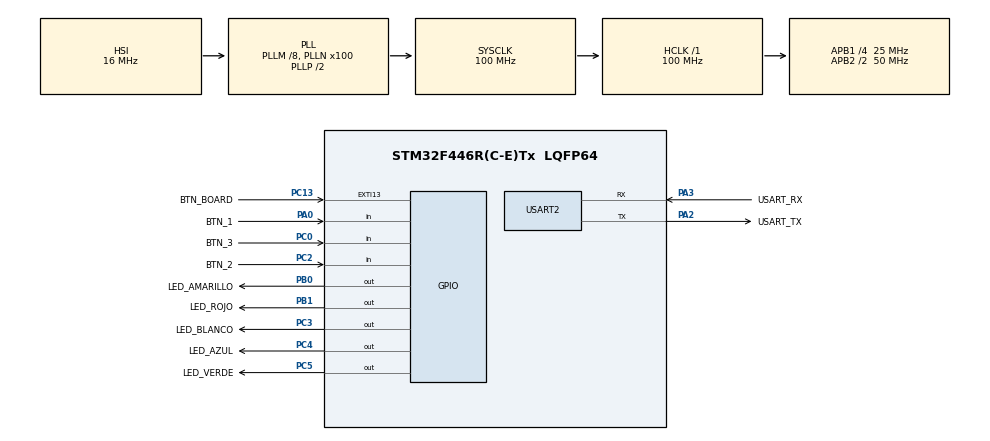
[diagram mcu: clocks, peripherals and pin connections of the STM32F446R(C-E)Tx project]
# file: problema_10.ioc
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FREERTOS.Tasks01=defaultTask,24,128,StartDefaultTask,Default,NULL,Dynamic,NULL,NULL
FREERTOS.configUSE_NEWLIB_REENTRANT=1
Mcu.Family=STM32F4
Mcu.Name=STM32F446R(C-E)Tx
Mcu.Package=LQFP64
NVIC.PriorityGroup=NVIC_PRIORITYGROUP_4
NVIC.TIM1_UP_TIM10_IRQn=true\:15\:0\:false\:false\:true\:false\:false\:true\:true
NVIC.TimeBase=TIM1_UP_TIM10_IRQn
NVIC.TimeBaseIP=TIM1
NVIC.USART2_IRQn=true\:5\:0\:false\:false\:true\:true\:true\:true\:true
PA0-WKUP.GPIO_Label=BTN_1
PA0-WKUP.Signal=GPIO_Input
PA13.GPIO_Label=TMS
PA13.Mode=Serial_Wire
PA13.Signal=SYS_JTMS-SWDIO
PA14.GPIO_Label=TCK
PA14.Mode=Serial_Wire
PA14.Signal=SYS_JTCK-SWCLK
PA2.GPIO_Label=USART_TX
PA2.Mode=Asynchronous
PA2.Signal=USART2_TX
PA3.GPIO_Label=USART_RX
PA3.Mode=Asynchronous
PA3.Signal=USART2_RX
PB0.GPIO_Label=LED_AMARILLO
PB0.Signal=GPIO_Output
PB1.GPIO_Label=LED_ROJO
PB1.Signal=GPIO_Output
PC0.GPIO_Label=BTN_3
PC0.Signal=GPIO_Input
PC13.GPIO_Label=BTN_BOARD
PC13.GPIO_ModeDefaultEXTI=GPIO_MODE_IT_RISING_FALLING
PC13.GPIO_PuPd=GPIO_PULLDOWN
PC13.Signal=GPXTI13
PC14-OSC32_IN.Mode=LSE-External-Oscillator
PC14-OSC32_IN.Signal=RCC_OSC32_IN
PC15-OSC32_OUT.Mode=LSE-External-Oscillator
PC15-OSC32_OUT.Signal=RCC_OSC32_OUT
PC2.GPIO_Label=BTN_2
PC2.GPIO_PuPd=GPIO_NOPULL
PC2.Signal=GPIO_Input
PC3.GPIO_Label=LED_BLANCO
PC3.Signal=GPIO_Output
PC4.GPIO_Label=LED_AZUL
PC4.Signal=GPIO_Output
PC5.GPIO_Label=LED_VERDE
PC5.Signal=GPIO_Output
PH0-OSC_IN.Mode=HSE-External-Oscillator
PH0-OSC_IN.Signal=RCC_OSC_IN
PH1-OSC_OUT.Mode=HSE-External-Oscillator
PH1-OSC_OUT.Signal=RCC_OSC_OUT
ProjectManager.HeapSize=0x200
ProjectManager.StackSize=0x400
ProjectManager.TargetToolchain=STM32CubeIDE
RCC.48MHZClocksFreq_Value=84000000
RCC.AHBFreq_Value=100000000
RCC.APB1CLKDivider=RCC_HCLK_DIV4
RCC.APB1Freq_Value=25000000
RCC.APB1TimFreq_Value=50000000
RCC.APB2CLKDivider=RCC_HCLK_DIV2
RCC.APB2Freq_Value=50000000
RCC.APB2TimFreq_Value=100000000
RCC.CortexFreq_Value=100000000
RCC.FLatency-AdvancedSettings=FLASH_LATENCY_3
RCC.HCLKFreq_Value=100000000
RCC.HSE_VALUE=8000000
RCC.HSI_VALUE=16000000
RCC.PLLM=8
RCC.PLLN=100
RCC.SYSCLKFreq_VALUE=100000000
RCC.SYSCLKSource=RCC_SYSCLKSOURCE_PLLCLK
RCC.USBFreq_Value=100000000
RCC.VCOOutputFreq_Value=200000000
USART2.VirtualMode=VM_ASYNC
VP_FREERTOS_VS_CMSIS_V2.Mode=CMSIS_V2
VP_SYS_VS_tim1.Mode=TIM1
board=NUCLEO-F446RE

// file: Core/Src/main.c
/* USER CODE BEGIN Header */
/**
 ******************************************************************************
 * @file           : main.c
 * @brief          : Main program body
 ******************************************************************************
 * @attention
 *
 * Copyright (c) 2026 STMicroelectronics.
 * All rights reserved.
 *
 * This software is licensed under terms that can be found in the LICENSE file
 * in the root directory of this software component.
 * If no LICENSE file comes with this software, it is provided AS-IS.
 *
 ******************************************************************************
 */
/* USER CODE END Header */
#include "main.h"
#include "cmsis_os.h"

/* USER CODE BEGIN Includes */
#include "interfaz_tp.h"
#include "debounce.h"
#include "task.h"
#include "semphr.h"
#include "queue.h"
#include <string.h>
#include <stdio.h>
/* USER CODE END Includes */

/* USER CODE BEGIN PD */
// #define DEBOUNCE_TICKS	(10)
// #define DEFAULT_BLINK	(500)
#define LEN_COLA_MSG (64)
#define LONG_MAX_LINEA (32)
/* USER CODE END PD */

UART_HandleTypeDef huart2;

/* Definitions for defaultTask */
osThreadId_t defaultTaskHandle;
const osThreadAttr_t defaultTask_attributes = { .name = "defaultTask",
		.stack_size = 128 * 4, .priority = (osPriority_t) osPriorityNormal, };
/* USER CODE BEGIN PV */
xQueueHandle colaRx, colaTx;
char dato_rx, dato_tx;
uint8_t enviando = 0;
/* USER CODE END PV */

void SystemClock_Config(void);
static void MX_GPIO_Init(void);
static void MX_USART2_UART_Init(void);
void StartDefaultTask(void *argument);

/* USER CODE BEGIN PFP */
void serial_receive_task(void *p);
void serial_send_task(void *p);
void tarea_botones(void *p);
void enviar_string_a_cola(const char *str);
/* USER CODE END PFP */

/* USER CODE BEGIN 0 */
/*
 void HAL_GPIO_EXTI_Callback(uint16_t GPIO_Pin){
 BaseType_t HigherPriorityTaskWoken;
 static TickType_t anterior = 0;
 if(GPIO_Pin == BTN_BOARD_Pin){
 anterior = xTaskGetTickCountFromISR() - anterior;
 if(anterior > DEBOUNCE_TICKS){
 xSemaphoreGiveFromISR(semaforo,&HigherPriorityTaskWoken);
 portEND_SWITCHING_ISR(HigherPriorityTaskWoken);
 }
 }
 }
 */

void enviar_string_a_cola(const char *str) {
	while (*str) {
		char c = *str;
		xQueueSend(colaTx, (uint8_t*)&c, portMAX_DELAY);
		str++;
	}
}

void HAL_UART_RxCpltCallback(UART_HandleTypeDef *huart) {
	if (huart->Instance == USART2) {
		BaseType_t llamarplanificador = pdFALSE;

		xQueueSendFromISR(colaRx, &dato_rx, &llamarplanificador);

		// Rearme por registros para evitar fallos de HAL_BUSY
		//SET_BIT(huart->Instance->CR1, USART_CR1_RXNEIE);
		HAL_UART_Receive_IT(huart, &dato_rx, sizeof(dato_rx));

		portEND_SWITCHING_ISR(llamarplanificador);
	}
}

/**
  * @brief Callback de transmisión de la UART por IT (Tu lógica de encadenamiento continuo)
  */
void HAL_UART_TxCpltCallback(UART_HandleTypeDef *huart) {
	if (huart->Instance == USART2) {
		BaseType_t llamarplanificador = pdFALSE;
		char dato;

		// Si quedan caracteres en la cola de transmisión, los enviamos de inmediato desde la ISR
		if (xQueueReceiveFromISR(colaTx, &dato, &llamarplanificador) == pdPASS) {
			enviando = 1;
			dato_tx = dato;
			HAL_UART_Transmit_IT(&huart2, (uint8_t*)&dato_tx, sizeof(dato_tx));
		} else {
			enviando = 0; // La cola se vació, liberamos el canal
		}
		portEND_SWITCHING_ISR(llamarplanificador);
	}
}

void serial_receive_task(void *p) {
	char buffer_linea[LONG_MAX_LINEA];
	uint8_t indice = 0;
	char dato;

	memset(buffer_linea, 0, LONG_MAX_LINEA);

	while(1) {
		// Esperamos un carácter de la ISR
		xQueueReceive(colaRx, (uint8_t*)&dato, portMAX_DELAY);

		// Omitimos el carriage return (\r) por completo
		/*
		if (dato == '\r') {
			continue;
		}
		*/

		// Si no es el fin de línea, acumulamos
		if (dato != '\r') {
			if (indice < (LONG_MAX_LINEA - 1)) {
				buffer_linea[indice++] = dato;
			}
		}
		// Llegó el '\n', procesamos el buffer acumulado
		else {
			buffer_linea[indice] = '\0'; // Cerramos el string

			// Si la línea está vacía, la ignoramos
			if (indice == 0) {
				continue;
			}

			// PARSER MANUAL: Validación estricta por posiciones fijas
			// El formato "LED X Y" tiene exactamente 7 caracteres (índices 0 al 6)
			if (indice == 7 &&
				buffer_linea[0] == 'L' &&
				buffer_linea[1] == 'E' &&
				buffer_linea[2] == 'D' &&
				buffer_linea[3] == ' ' && // Espacio obligatorio
				buffer_linea[5] == ' ')   // Espacio obligatorio
			{
				// Convertimos los caracteres numéricos ('0' o '1') a enteros (0 o 1)
				// Restar '0' es el truco clásico de ASCCI para obtener el valor numérico
				int n_led  = buffer_linea[4] - '0';
				int estado = buffer_linea[6] - '0';

				// Validamos que los valores estén en los rangos correctos
				if ((n_led == 0 || n_led == 1) && (estado == 0 || estado == 1)) {

					// Acción sobre el hardware
					setear_led(n_led, estado);

					enviar_string_a_cola("OK\r\n");
				} else {
					enviar_string_a_cola("ERROR\r\n");
				}
			}
			else {
				// No mide 7 caracteres o no empieza con "LED " o no tiene los espacios fijos
				enviar_string_a_cola("ERROR\r\n");
			}

			// Reset del buffer para la próxima trama
			indice = 0;
			memset(buffer_linea, 0, LONG_MAX_LINEA);
		}
	}
}

/*
void serial_receive_task(void *p) {
	char buffer_linea[LONG_MAX_LINEA];
	uint8_t indice = 0;
	char dato;

	memset(buffer_linea, 0, LONG_MAX_LINEA);

	while(1) {
		// Esperamos un carácter proveniente de la ISR
		xQueueReceive(colaRx, (uint8_t*)&dato, portMAX_DELAY);

		// Omitimos el carriage return (\r) si la terminal virtual lo envía
		if (dato == '\r') {
			continue;
		}

		if (dato != '\n') {
			if (indice < (LONG_MAX_LINEA - 1)) {
				buffer_linea[indice++] = dato;
			}
		}
		else {
			buffer_linea[indice] = '\0'; // Cerramos el string

			if (indice == 0) {
				continue; // Línea vacía
			}

			int n_led = -1;
			int estado = -1;

			// sscanf con el formato estricto pedido
			if (!(sscanf(buffer_linea, "LED %d %d", &n_led, &estado))) { // == 2) {
				if ((n_led == 0 || n_led == 1) && (estado == 0 || estado == 1)) {

					// Acción sobre el hardware de los LEDs
					setear_led(n_led, estado);

					enviar_string_a_cola("OK\r\n");
				} else {
					enviar_string_a_cola("ERROR\r\n");
				}
			} else {
				enviar_string_a_cola("ERROR\r\n");
			}

			indice = 0;
			memset(buffer_linea, 0, LONG_MAX_LINEA);
		}
	}
}
*/

void serial_send_task(void *p) {
	char dato;
	while(1) {
		// Si el periférico no está ocupado transmitiendo, tomamos un carácter de la cola
		if (!enviando){
			if (xQueueReceive(colaTx, (uint8_t*)&dato, portMAX_DELAY) == pdPASS) {
				enviando = 1;
				dato_tx = dato;
				HAL_UART_Transmit_IT(&huart2, (uint8_t*)&dato_tx, sizeof(dato_tx));
			}
		}
		// Pequeña pausa de control para evitar acaparar CPU si la cola está vacía
		vTaskDelay(pdMS_TO_TICKS(1));
	}
}

void tarea_botones(void *p) {
	debounce_t botones[2];
	uint16_t pines[2];

	for(int i = 0; i < 2; i++){
		debounce_inic(&botones[i]);
	}

	while(1) {
		// 1 si está presionado, 0 si está suelto (Adapta lógica inversa)
		pines[0] = (pulsador_activo(0) == 0);
		pines[1] = (pulsador_activo(1) == 0);

		for(int i = 0; i < 2; i++) {
			debounce_fsm(&botones[i], pines[i]);

			// Si detectamos flanco de presión, enviamos el mensaje carácter por carácter a colaTx
			if(botones[i].activo && !botones[i].anterior) {
				if(i == 0) {
					enviar_string_a_cola("B1\r\n");
				} else if(i == 1) {
					enviar_string_a_cola("B2\r\n");
				}
			}
			debounce_tick(&botones[i]);
		}
		vTaskDelay(pdMS_TO_TICKS(1));
	}
}

/* USER CODE END 0 */

int main(void) {

	/* MCU Configuration--------------------------------------------------------*/

	/* Reset of all peripherals, Initializes the Flash interface and the Systick. */
	HAL_Init();

	/* Configure the system clock */
	SystemClock_Config();

	/* Initialize all configured peripherals */
	MX_GPIO_Init();
	MX_USART2_UART_Init();

	/* Init scheduler */
	osKernelInitialize();

	/* USER CODE BEGIN RTOS_SEMAPHORES */
	/* add semaphores, ... */
	// sem_tx_completo = xSemaphoreCreateBinary();
	/* USER CODE END RTOS_SEMAPHORES */

	/* USER CODE BEGIN RTOS_QUEUES */
	/* add queues, ... */
	// cola = xQueueCreate(4,sizeof(TickType_t));
	colaRx = xQueueCreate(LEN_COLA_MSG, sizeof(char));
	colaTx = xQueueCreate(LEN_COLA_MSG, sizeof(char));
	/* USER CODE END RTOS_QUEUES */

	/* Create the thread(s) */
	/* creation of defaultTask */
	defaultTaskHandle = osThreadNew(StartDefaultTask, NULL,
			&defaultTask_attributes);

	/* USER CODE BEGIN RTOS_THREADS */
	/* add threads, ... */
	xTaskCreate(serial_receive_task, "SERIAL_RX", configMINIMAL_STACK_SIZE * 4, NULL, tskIDLE_PRIORITY + 1, NULL);
    xTaskCreate(serial_send_task,    "SERIAL_TX", configMINIMAL_STACK_SIZE * 4, NULL, tskIDLE_PRIORITY + 1, NULL);
    xTaskCreate(tarea_botones,       "BOTONES",   configMINIMAL_STACK_SIZE * 2, NULL, tskIDLE_PRIORITY + 2, NULL);
	/* 3. Activación inicial de la interrupción de recepción de la UART */
	HAL_UART_Receive_IT(&huart2, (uint8_t*)&dato_rx, sizeof(dato_rx));
	/* USER CODE END RTOS_THREADS */

	/* Start scheduler */
	osKernelStart();

	/* We should never get here as control is now taken by the scheduler */

	/* Infinite loop */
	while (1) {

	}
}

void SystemClock_Config(void) {
	RCC_OscInitTypeDef RCC_OscInitStruct = { 0 };
	RCC_ClkInitTypeDef RCC_ClkInitStruct = { 0 };

	/** Configure the main internal regulator output voltage
	 */
	__HAL_RCC_PWR_CLK_ENABLE();
	__HAL_PWR_VOLTAGESCALING_CONFIG(PWR_REGULATOR_VOLTAGE_SCALE3);

	/** Initializes the RCC Oscillators according to the specified parameters
	 * in the RCC_OscInitTypeDef structure.
	 */
	RCC_OscInitStruct.OscillatorType = RCC_OSCILLATORTYPE_HSI;
	RCC_OscInitStruct.HSIState = RCC_HSI_ON;
	RCC_OscInitStruct.HSICalibrationValue = RCC_HSICALIBRATION_DEFAULT;
	RCC_OscInitStruct.PLL.PLLState = RCC_PLL_ON;
	RCC_OscInitStruct.PLL.PLLSource = RCC_PLLSOURCE_HSI;
	RCC_OscInitStruct.PLL.PLLM = 8;
	RCC_OscInitStruct.PLL.PLLN = 100;
	RCC_OscInitStruct.PLL.PLLP = RCC_PLLP_DIV2;
	RCC_OscInitStruct.PLL.PLLQ = 2;
	RCC_OscInitStruct.PLL.PLLR = 2;
	if (HAL_RCC_OscConfig(&RCC_OscInitStruct) != HAL_OK) {
		Error_Handler();
	}

	/** Initializes the CPU, AHB and APB buses clocks
	 */
	RCC_ClkInitStruct.ClockType = RCC_CLOCKTYPE_HCLK | RCC_CLOCKTYPE_SYSCLK
			| RCC_CLOCKTYPE_PCLK1 | RCC_CLOCKTYPE_PCLK2;
	RCC_ClkInitStruct.SYSCLKSource = RCC_SYSCLKSOURCE_PLLCLK;
	RCC_ClkInitStruct.AHBCLKDivider = RCC_SYSCLK_DIV1;
	RCC_ClkInitStruct.APB1CLKDivider = RCC_HCLK_DIV4;
	RCC_ClkInitStruct.APB2CLKDivider = RCC_HCLK_DIV2;

	if (HAL_RCC_ClockConfig(&RCC_ClkInitStruct, FLASH_LATENCY_3) != HAL_OK) {
		Error_Handler();
	}
}

static void MX_USART2_UART_Init(void) {

	huart2.Instance = USART2;
	huart2.Init.BaudRate = 115200;
	huart2.Init.WordLength = UART_WORDLENGTH_8B;
	huart2.Init.StopBits = UART_STOPBITS_1;
	huart2.Init.Parity = UART_PARITY_NONE;
	huart2.Init.Mode = UART_MODE_TX_RX;
	huart2.Init.HwFlowCtl = UART_HWCONTROL_NONE;
	huart2.Init.OverSampling = UART_OVERSAMPLING_16;
	if (HAL_UART_Init(&huart2) != HAL_OK) {
		Error_Handler();
	}

}

static void MX_GPIO_Init(void) {
	GPIO_InitTypeDef GPIO_InitStruct = { 0 };

	/* GPIO Ports Clock Enable */
	__HAL_RCC_GPIOC_CLK_ENABLE();
	__HAL_RCC_GPIOH_CLK_ENABLE();
	__HAL_RCC_GPIOA_CLK_ENABLE();
	__HAL_RCC_GPIOB_CLK_ENABLE();

	/*Configure GPIO pin Output Level */
	HAL_GPIO_WritePin(GPIOC, LED_BLANCO_Pin | LED_AZUL_Pin | LED_VERDE_Pin,
			GPIO_PIN_RESET);

	/*Configure GPIO pin Output Level */
	HAL_GPIO_WritePin(GPIOB, LED_AMARILLO_Pin | LED_ROJO_Pin, GPIO_PIN_RESET);

	/*Configure GPIO pin : BTN_BOARD_Pin */
	GPIO_InitStruct.Pin = BTN_BOARD_Pin;
	GPIO_InitStruct.Mode = GPIO_MODE_IT_RISING_FALLING;
	GPIO_InitStruct.Pull = GPIO_PULLDOWN;
	HAL_GPIO_Init(BTN_BOARD_GPIO_Port, &GPIO_InitStruct);

	/*Configure GPIO pins : BTN_3_Pin BTN_2_Pin */
	GPIO_InitStruct.Pin = BTN_3_Pin | BTN_2_Pin;
	GPIO_InitStruct.Mode = GPIO_MODE_INPUT;
	GPIO_InitStruct.Pull = GPIO_NOPULL;
	HAL_GPIO_Init(GPIOC, &GPIO_InitStruct);

	/*Configure GPIO pins : LED_BLANCO_Pin LED_AZUL_Pin LED_VERDE_Pin */
	GPIO_InitStruct.Pin = LED_BLANCO_Pin | LED_AZUL_Pin | LED_VERDE_Pin;
	GPIO_InitStruct.Mode = GPIO_MODE_OUTPUT_PP;
	GPIO_InitStruct.Pull = GPIO_NOPULL;
	GPIO_InitStruct.Speed = GPIO_SPEED_FREQ_LOW;
	HAL_GPIO_Init(GPIOC, &GPIO_InitStruct);

	/*Configure GPIO pin : BTN_1_Pin */
	GPIO_InitStruct.Pin = BTN_1_Pin;
	GPIO_InitStruct.Mode = GPIO_MODE_INPUT;
	GPIO_InitStruct.Pull = GPIO_NOPULL;
	HAL_GPIO_Init(BTN_1_GPIO_Port, &GPIO_InitStruct);

	/*Configure GPIO pins : LED_AMARILLO_Pin LED_ROJO_Pin */
	GPIO_InitStruct.Pin = LED_AMARILLO_Pin | LED_ROJO_Pin;
	GPIO_InitStruct.Mode = GPIO_MODE_OUTPUT_PP;
	GPIO_InitStruct.Pull = GPIO_NOPULL;
	GPIO_InitStruct.Speed = GPIO_SPEED_FREQ_LOW;
	HAL_GPIO_Init(GPIOB, &GPIO_InitStruct);

}

void StartDefaultTask(void *argument) {
	/* USER CODE BEGIN 5 */
	/* Infinite loop */
	for (;;) {
		osDelay(250);
	}
	/* USER CODE END 5 */
}

void HAL_TIM_PeriodElapsedCallback(TIM_HandleTypeDef *htim) {
	if (htim->Instance == TIM1) {
		HAL_IncTick();
	}
}

void Error_Handler(void) {
	__disable_irq();
	while (1) {
	}
}
